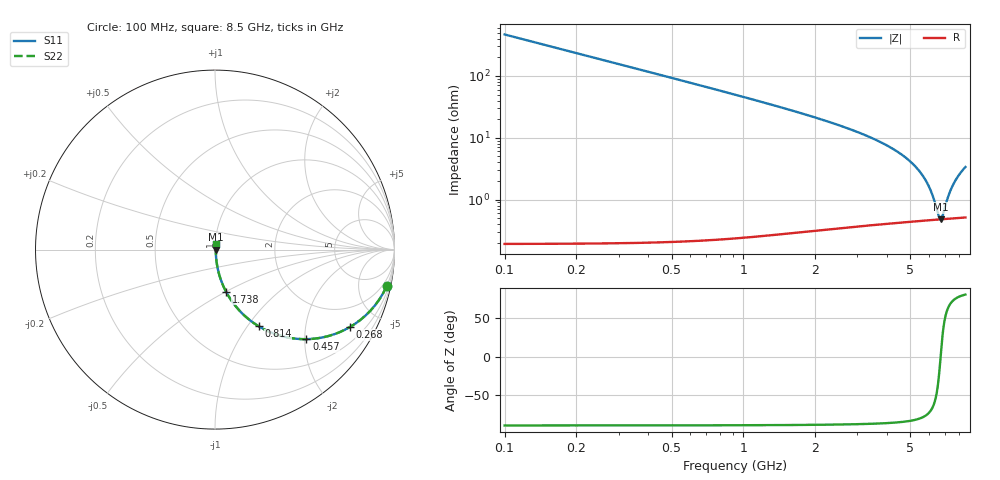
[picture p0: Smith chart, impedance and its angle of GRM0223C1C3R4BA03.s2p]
!Murata Part Number: GRM0223C1C3R4BA03
!These Parameters are Measured in Series Mode Connection
!Data Generated on Mar 30, 2021
!  o--ll--o
!Port1  Port2
!  o------o
!Operation Temp=25[degC], DC Bias Voltage=0[V]
!Freq. Start=100[MHz] Stop=9[GHz] 401[Steps]
# Hz S RI R 50
!Freq.(Hz) S11(Real) S11(Imag) S21(Real) S21(Imag) S12(Real) S12(Imag) S22(Real) S22(Imag)
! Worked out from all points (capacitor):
!   401 points, 100 MHz to 8.5 GHz, reference 50 ohm
!   read as one part in series: C = 3.4 pF near 142 MHz
!   lowest |Z| = 478 mohm at 6.694 GHz (marker M1)
!   series resonance near 6.693 GHz, so ESL is about 170 pH
!   S11 on the Smith chart (normalised r, x): 100 MHz: 1.00, -9.36; 268 MHz: 1.00, -3.49; 457 MHz: 1.00, -2.04; 814 MHz: 1.00, -1.13; 1.738 GHz: 1.01, -0.50; 8.5 GHz: 1.01, +0.07
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1e8  0.9563 -0.2043  0.0437 0.2043  0.0437 0.2043  0.9563 -0.2043
2.05e8  0.8386 -0.3675  0.1614 0.3675  0.1614 0.3675  0.8386 -0.3675
2.68e8  0.7522 -0.4312  0.2478 0.4312  0.2478 0.4312  0.7522 -0.4312
3.52e8  0.6372 -0.4801  0.3628 0.4801  0.3628 0.4801  0.6372 -0.4801
4.57e8  0.5094 -0.4989  0.4906 0.4989  0.4906 0.4989  0.5094 -0.4989
6.25e8  0.3553 -0.4772  0.6447 0.4772  0.6447 0.4772  0.3553 -0.4772
8.14e8  0.2434 -0.4271  0.7566 0.4271  0.7566 0.4271  0.2434 -0.4271
1.108e9  0.1454 -0.3495  0.8546 0.3495  0.8546 0.3495  0.1454 -0.3495
1.507e9  0.0816 -0.2691  0.9184 0.2691  0.9184 0.2691  0.0816 -0.2691
1.738e9  0.0613 -0.2341  0.9387 0.2341  0.9387 0.2341  0.0613 -0.2341
2.914e9  0.0199 -0.1262  0.9801 0.1262  0.9801 0.1262  0.0199 -0.1262
4.3e9  0.00807 -0.0625  0.9919 0.0625  0.9919 0.0625  0.00807 -0.0625
5.119e9  0.00576 -0.0371  0.9942 0.0371  0.9942 0.0371  0.00576 -0.0371
5.707e9  0.00501 -0.0219  0.995 0.0219  0.995 0.0219  0.00501 -0.0219
6.106e9  0.00479 -0.0126  0.9952 0.0126  0.9952 0.0126  0.00479 -0.0126
6.568e9  0.00474 -0.00259  0.9953 0.00259  0.9953 0.00259  0.00474 -0.00259
6.694e9  0.00476 1.05e-05  0.9952 -1.05e-05  0.9952 -1.05e-05  0.00476 1.05e-05
6.82e9  0.0048 0.00256  0.9952 -0.00256  0.9952 -0.00256  0.0048 0.00256
7.114e9  0.00492 0.00832  0.9951 -0.00832  0.9951 -0.00832  0.00492 0.00832
7.366e9  0.00507 0.0131  0.9949 -0.0131  0.9949 -0.0131  0.00507 0.0131
7.681e9  0.00531 0.0188  0.9947 -0.0188  0.9947 -0.0188  0.00531 0.0188
8.5e9  0.00618 0.0328  0.9938 -0.0328  0.9938 -0.0328  0.00618 0.0328
